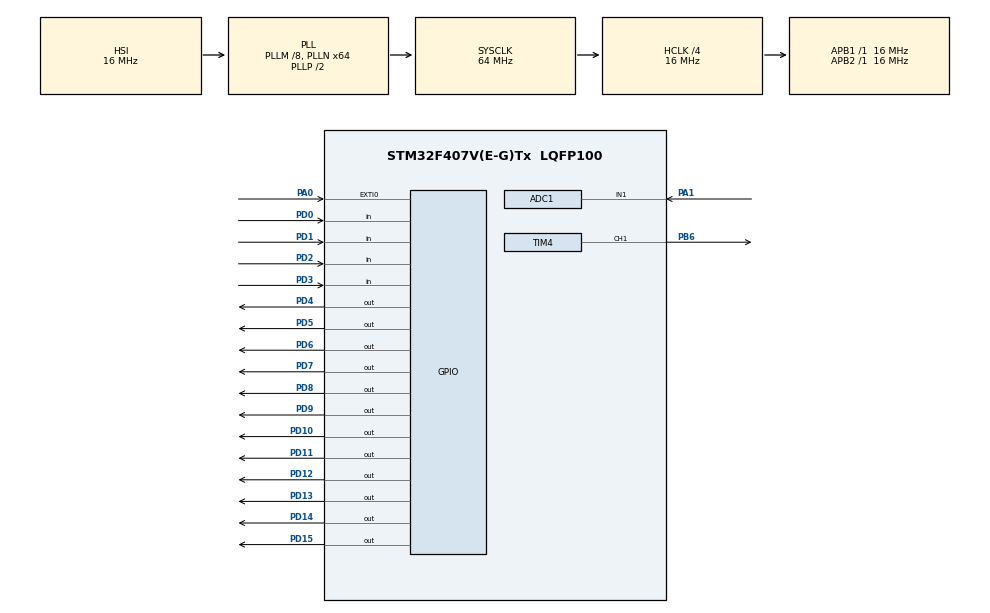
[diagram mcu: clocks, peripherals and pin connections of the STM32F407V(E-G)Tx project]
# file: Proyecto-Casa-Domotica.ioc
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ADC1.Channel-1\#ChannelRegularConversion=ADC_CHANNEL_1
ADC1.EOCSelection=ADC_EOC_SINGLE_CONV
ADC1.InjNumberOfConversion=0
ADC1.NbrOfConversionFlag=1
ADC1.Rank-1\#ChannelRegularConversion=1
ADC1.Resolution=ADC_RESOLUTION_8B
ADC1.SamplingTime-1\#ChannelRegularConversion=ADC_SAMPLETIME_28CYCLES
ADC1.master=1
Mcu.Family=STM32F4
Mcu.Name=STM32F407V(E-G)Tx
Mcu.Package=LQFP100
NVIC.ADC_IRQn=true\:0\:0\:false\:false\:true\:true\:true
NVIC.EXTI0_IRQn=true\:0\:0\:false\:false\:true\:true\:true
NVIC.PriorityGroup=NVIC_PRIORITYGROUP_0
NVIC.TIM1_UP_TIM10_IRQn=true\:0\:0\:false\:false\:true\:false\:true
NVIC.TimeBase=TIM1_UP_TIM10_IRQn
NVIC.TimeBaseIP=TIM1
PA0-WKUP.Signal=GPXTI0
PA1.Signal=ADCx_IN1
PB6.Signal=S_TIM4_CH1
PD0.Signal=GPIO_Input
PD1.Signal=GPIO_Input
PD10.Signal=GPIO_Output
PD11.Signal=GPIO_Output
PD12.Signal=GPIO_Output
PD13.Signal=GPIO_Output
PD14.Signal=GPIO_Output
PD15.Signal=GPIO_Output
PD2.Signal=GPIO_Input
PD3.Signal=GPIO_Input
PD4.Signal=GPIO_Output
PD5.Signal=GPIO_Output
PD6.Signal=GPIO_Output
PD7.Signal=GPIO_Output
PD8.Signal=GPIO_Output
PD9.Signal=GPIO_Output
ProjectManager.HeapSize=0x200
ProjectManager.StackSize=0x400
ProjectManager.TargetToolchain=STM32CubeIDE
RCC.48MHZClocksFreq_Value=18285714.285714287
RCC.AHBCLKDivider=RCC_SYSCLK_DIV4
RCC.AHBFreq_Value=16000000
RCC.APB1Freq_Value=16000000
RCC.APB1TimFreq_Value=16000000
RCC.APB2Freq_Value=16000000
RCC.APB2TimFreq_Value=16000000
RCC.CortexFreq_Value=16000000
RCC.HCLKFreq_Value=16000000
RCC.HSE_VALUE=8000000
RCC.HSI_VALUE=16000000
RCC.LSE_VALUE=32768
RCC.PLLM=8
RCC.PLLN=64
RCC.PLLQ=7
RCC.SYSCLKFreq_VALUE=64000000
RCC.SYSCLKSource=RCC_SYSCLKSOURCE_PLLCLK
RCC.VCOOutputFreq_Value=128000000
SH.ADCx_IN1.0=ADC1_IN1,IN1
SH.S_TIM4_CH1.0=TIM4_CH1,PWM Generation1 CH1
TIM2.Period=100
TIM2.Prescaler=16000
TIM2.TIM_MasterOutputTrigger=TIM_TRGO_UPDATE
TIM4.Channel-PWM\ Generation1\ CH1=TIM_CHANNEL_1
TIM4.Period=100
TIM4.Prescaler=16
TIM4.Pulse-PWM\ Generation1\ CH1=50
VP_SYS_VS_tim1.Mode=TIM1
VP_TIM2_VS_ClockSourceINT.Mode=Internal
VP_TIM4_VS_ClockSourceINT.Mode=Internal
board=STM32F407G-DISC1

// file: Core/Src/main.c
/* USER CODE BEGIN Header */
/**
  ******************************************************************************
  * @file           : main.c
  * @brief          : Main program body
  ******************************************************************************
  * @attention
  *
  * <h2><center>&copy; Copyright (c) 2021 STMicroelectronics.
  * All rights reserved.</center></h2>
  *
  * This software component is licensed by ST under Ultimate Liberty license
  * SLA0044, the "License"; You may not use this file except in compliance with
  * the License. You may obtain a copy of the License at:
  *                             www.st.com/SLA0044
  *
  ******************************************************************************
  */
/* USER CODE END Header */
#include "main.h"

/* USER CODE BEGIN Includes */

//Incluir librería del teclado
#include "MY_Keypad4x4.h"
//Incluir librería booleana
#include <stdbool.h>

/* USER CODE END Includes */

ADC_HandleTypeDef hadc1;

TIM_HandleTypeDef htim2;
TIM_HandleTypeDef htim4;

void SystemClock_Config(void);
static void MX_GPIO_Init(void);
static void MX_ADC1_Init(void);
static void MX_TIM2_Init(void);
static void MX_TIM4_Init(void);

/* USER CODE BEGIN 0 */
bool mySwitches[16];
uint8_t adcVal;
int ledState=0;

/* USER CODE END 0 */

int main(void)
{
  /* USER CODE BEGIN 1 */
	Keypad_WiresTypeDef myKeypadStruct;

  /* USER CODE END 1 */

  /* MCU Configuration--------------------------------------------------------*/

  /* Reset of all peripherals, Initializes the Flash interface and the Systick. */
  HAL_Init();

  /* Configure the system clock */
  SystemClock_Config();

  /* Initialize all configured peripherals */
  MX_GPIO_Init();
  MX_ADC1_Init();
  MX_TIM2_Init();
  MX_TIM4_Init();
  /* USER CODE BEGIN 2 */

  	  	  	  //KEYPAD
  //Declaración puertos de entrada
  myKeypadStruct.IN0_Port = GPIOD;
  myKeypadStruct.IN1_Port = GPIOD;
  myKeypadStruct.IN2_Port = GPIOD;
  myKeypadStruct.IN3_Port = GPIOD;

  //Declaración puertos de salida
  myKeypadStruct.OUT0_Port = GPIOD;
  myKeypadStruct.OUT1_Port = GPIOD;
  myKeypadStruct.OUT2_Port = GPIOD;
  myKeypadStruct.OUT3_Port = GPIOD;

  //Declaración pines de entrada
  myKeypadStruct.IN0pin = GPIO_PIN_0;
  myKeypadStruct.IN1pin = GPIO_PIN_1;
  myKeypadStruct.IN2pin = GPIO_PIN_2;
  myKeypadStruct.IN3pin = GPIO_PIN_3;

  //Declaración pines de salida
  myKeypadStruct.OUT0pin = GPIO_PIN_4;
  myKeypadStruct.OUT1pin = GPIO_PIN_5;
  myKeypadStruct.OUT2pin = GPIO_PIN_6;
  myKeypadStruct.OUT3pin = GPIO_PIN_7;

  //Declaración pines de salida
  Keypad4x4_Init(&myKeypadStruct);

  	  	  	  //DAC:
  //Inicialización Tim
  HAL_TIM_Base_Start(&htim2);
  //Inicialización ADC
  HAL_ADC_Start_IT(&hadc1);

  	  	  	  //PWM
  HAL_TIM_PWM_Start(&htim4, TIM_CHANNEL_1);

  /* USER CODE END 2 */

  /* Infinite loop */
  while (1)
  {

    /* USER CODE BEGIN 3 */
	  //Leer continuamente las teclas del keypad
	  Keypad4x4_ReadKeypad(mySwitches);			//Función de lectura de botones
	  HAL_Delay(100);

	  //Botón 1: Luces de la cocina
	  if(mySwitches[0]){
		  HAL_GPIO_TogglePin(GPIOD, GPIO_PIN_11);
	  }
	  //Botón 2: Luces del salón
	  if(mySwitches[1]){
		  HAL_GPIO_TogglePin(GPIOD, GPIO_PIN_10);
	  }
	  //Botón 3: Luces del salón
	  if(mySwitches[2]){
		  HAL_GPIO_TogglePin(GPIOD, GPIO_PIN_9);
	  }

	  //ADC
	  HAL_ADC_Start(&hadc1);

	  if(HAL_ADC_PollForConversion(&hadc1, 10)==HAL_OK)
		  adcVal = HAL_ADC_GetValue(&hadc1);

	  HAL_ADC_Stop(&hadc1);

	  if(adcVal < 'S')									//Si la luminosidad es baja (es de noche),
		  HAL_GPIO_WritePin(GPIOD, GPIO_PIN_8, 1);		//se encienden las luces del jardín
	  else
		  HAL_GPIO_WritePin(GPIOD, GPIO_PIN_8, 0);		//En caso contrario se apagan

	  HAL_Delay(1000);

	  //BAJAR LEDs
	  	  if (mySwitches[13]) {	//Si se pulsa el botón 0
	  		  switch(ledState){
	  		  case 0:
	  			  __HAL_TIM_SET_COMPARE(&htim4, TIM_CHANNEL_1, 0); //ciclo de trabajo al 90%
	  			  break;
	  		  case 1:
	  			  __HAL_TIM_SET_COMPARE(&htim4, TIM_CHANNEL_1, 90); //ciclo de trabajo al 10%
	  			  break;
	  		  case 2:
	  			  __HAL_TIM_SET_COMPARE(&htim4, TIM_CHANNEL_1, 10); //ciclo de trabajo al 0%
	  			  break;
	  		}
	  		ledState++; 	  	 //se avanza de estado
	  		if(ledState==3)ledState=0;
	  	  }

  }
  /* USER CODE END 3 */
}

void SystemClock_Config(void)
{
  RCC_OscInitTypeDef RCC_OscInitStruct = {0};
  RCC_ClkInitTypeDef RCC_ClkInitStruct = {0};

  /** Configure the main internal regulator output voltage
  */
  __HAL_RCC_PWR_CLK_ENABLE();
  __HAL_PWR_VOLTAGESCALING_CONFIG(PWR_REGULATOR_VOLTAGE_SCALE1);
  /** Initializes the RCC Oscillators according to the specified parameters
  * in the RCC_OscInitTypeDef structure.
  */
  RCC_OscInitStruct.OscillatorType = RCC_OSCILLATORTYPE_HSI;
  RCC_OscInitStruct.HSIState = RCC_HSI_ON;
  RCC_OscInitStruct.HSICalibrationValue = RCC_HSICALIBRATION_DEFAULT;
  RCC_OscInitStruct.PLL.PLLState = RCC_PLL_ON;
  RCC_OscInitStruct.PLL.PLLSource = RCC_PLLSOURCE_HSI;
  RCC_OscInitStruct.PLL.PLLM = 8;
  RCC_OscInitStruct.PLL.PLLN = 64;
  RCC_OscInitStruct.PLL.PLLP = RCC_PLLP_DIV2;
  RCC_OscInitStruct.PLL.PLLQ = 7;
  if (HAL_RCC_OscConfig(&RCC_OscInitStruct) != HAL_OK)
  {
    Error_Handler();
  }
  /** Initializes the CPU, AHB and APB buses clocks
  */
  RCC_ClkInitStruct.ClockType = RCC_CLOCKTYPE_HCLK|RCC_CLOCKTYPE_SYSCLK
                              |RCC_CLOCKTYPE_PCLK1|RCC_CLOCKTYPE_PCLK2;
  RCC_ClkInitStruct.SYSCLKSource = RCC_SYSCLKSOURCE_PLLCLK;
  RCC_ClkInitStruct.AHBCLKDivider = RCC_SYSCLK_DIV4;
  RCC_ClkInitStruct.APB1CLKDivider = RCC_HCLK_DIV1;
  RCC_ClkInitStruct.APB2CLKDivider = RCC_HCLK_DIV1;

  if (HAL_RCC_ClockConfig(&RCC_ClkInitStruct, FLASH_LATENCY_0) != HAL_OK)
  {
    Error_Handler();
  }
}

static void MX_ADC1_Init(void)
{

  ADC_ChannelConfTypeDef sConfig = {0};

  /** Configure the global features of the ADC (Clock, Resolution, Data Alignment and number of conversion)
  */
  hadc1.Instance = ADC1;
  hadc1.Init.ClockPrescaler = ADC_CLOCK_SYNC_PCLK_DIV2;
  hadc1.Init.Resolution = ADC_RESOLUTION_8B;
  hadc1.Init.ScanConvMode = DISABLE;
  hadc1.Init.ContinuousConvMode = DISABLE;
  hadc1.Init.DiscontinuousConvMode = DISABLE;
  hadc1.Init.ExternalTrigConvEdge = ADC_EXTERNALTRIGCONVEDGE_NONE;
  hadc1.Init.ExternalTrigConv = ADC_SOFTWARE_START;
  hadc1.Init.DataAlign = ADC_DATAALIGN_RIGHT;
  hadc1.Init.NbrOfConversion = 1;
  hadc1.Init.DMAContinuousRequests = DISABLE;
  hadc1.Init.EOCSelection = ADC_EOC_SINGLE_CONV;
  if (HAL_ADC_Init(&hadc1) != HAL_OK)
  {
    Error_Handler();
  }
  /** Configure for the selected ADC regular channel its corresponding rank in the sequencer and its sample time.
  */
  sConfig.Channel = ADC_CHANNEL_1;
  sConfig.Rank = 1;
  sConfig.SamplingTime = ADC_SAMPLETIME_28CYCLES;
  if (HAL_ADC_ConfigChannel(&hadc1, &sConfig) != HAL_OK)
  {
    Error_Handler();
  }

}

static void MX_TIM2_Init(void)
{

  TIM_ClockConfigTypeDef sClockSourceConfig = {0};
  TIM_MasterConfigTypeDef sMasterConfig = {0};

  htim2.Instance = TIM2;
  htim2.Init.Prescaler = 16000;
  htim2.Init.CounterMode = TIM_COUNTERMODE_UP;
  htim2.Init.Period = 100;
  htim2.Init.ClockDivision = TIM_CLOCKDIVISION_DIV1;
  htim2.Init.AutoReloadPreload = TIM_AUTORELOAD_PRELOAD_DISABLE;
  if (HAL_TIM_Base_Init(&htim2) != HAL_OK)
  {
    Error_Handler();
  }
  sClockSourceConfig.ClockSource = TIM_CLOCKSOURCE_INTERNAL;
  if (HAL_TIM_ConfigClockSource(&htim2, &sClockSourceConfig) != HAL_OK)
  {
    Error_Handler();
  }
  sMasterConfig.MasterOutputTrigger = TIM_TRGO_UPDATE;
  sMasterConfig.MasterSlaveMode = TIM_MASTERSLAVEMODE_DISABLE;
  if (HAL_TIMEx_MasterConfigSynchronization(&htim2, &sMasterConfig) != HAL_OK)
  {
    Error_Handler();
  }

}

static void MX_TIM4_Init(void)
{

  TIM_ClockConfigTypeDef sClockSourceConfig = {0};
  TIM_MasterConfigTypeDef sMasterConfig = {0};
  TIM_OC_InitTypeDef sConfigOC = {0};

  htim4.Instance = TIM4;
  htim4.Init.Prescaler = 16;
  htim4.Init.CounterMode = TIM_COUNTERMODE_UP;
  htim4.Init.Period = 100;
  htim4.Init.ClockDivision = TIM_CLOCKDIVISION_DIV1;
  htim4.Init.AutoReloadPreload = TIM_AUTORELOAD_PRELOAD_DISABLE;
  if (HAL_TIM_Base_Init(&htim4) != HAL_OK)
  {
    Error_Handler();
  }
  sClockSourceConfig.ClockSource = TIM_CLOCKSOURCE_INTERNAL;
  if (HAL_TIM_ConfigClockSource(&htim4, &sClockSourceConfig) != HAL_OK)
  {
    Error_Handler();
  }
  if (HAL_TIM_PWM_Init(&htim4) != HAL_OK)
  {
    Error_Handler();
  }
  sMasterConfig.MasterOutputTrigger = TIM_TRGO_RESET;
  sMasterConfig.MasterSlaveMode = TIM_MASTERSLAVEMODE_DISABLE;
  if (HAL_TIMEx_MasterConfigSynchronization(&htim4, &sMasterConfig) != HAL_OK)
  {
    Error_Handler();
  }
  sConfigOC.OCMode = TIM_OCMODE_PWM1;
  sConfigOC.Pulse = 50;
  sConfigOC.OCPolarity = TIM_OCPOLARITY_HIGH;
  sConfigOC.OCFastMode = TIM_OCFAST_DISABLE;
  if (HAL_TIM_PWM_ConfigChannel(&htim4, &sConfigOC, TIM_CHANNEL_1) != HAL_OK)
  {
    Error_Handler();
  }
  HAL_TIM_MspPostInit(&htim4);

}

static void MX_GPIO_Init(void)
{
  GPIO_InitTypeDef GPIO_InitStruct = {0};

  /* GPIO Ports Clock Enable */
  __HAL_RCC_GPIOA_CLK_ENABLE();
  __HAL_RCC_GPIOD_CLK_ENABLE();
  __HAL_RCC_GPIOB_CLK_ENABLE();

  /*Configure GPIO pin Output Level */
  HAL_GPIO_WritePin(GPIOD, GPIO_PIN_8|GPIO_PIN_9|GPIO_PIN_10|GPIO_PIN_11
                          |GPIO_PIN_12|GPIO_PIN_13|GPIO_PIN_14|GPIO_PIN_15
                          |GPIO_PIN_4|GPIO_PIN_5|GPIO_PIN_6|GPIO_PIN_7, GPIO_PIN_RESET);

  /*Configure GPIO pin : PA0 */
  GPIO_InitStruct.Pin = GPIO_PIN_0;
  GPIO_InitStruct.Mode = GPIO_MODE_IT_RISING;
  GPIO_InitStruct.Pull = GPIO_NOPULL;
  HAL_GPIO_Init(GPIOA, &GPIO_InitStruct);

  /*Configure GPIO pins : PD8 PD9 PD10 PD11
                           PD12 PD13 PD14 PD15
                           PD4 PD5 PD6 PD7 */
  GPIO_InitStruct.Pin = GPIO_PIN_8|GPIO_PIN_9|GPIO_PIN_10|GPIO_PIN_11
                          |GPIO_PIN_12|GPIO_PIN_13|GPIO_PIN_14|GPIO_PIN_15
                          |GPIO_PIN_4|GPIO_PIN_5|GPIO_PIN_6|GPIO_PIN_7;
  GPIO_InitStruct.Mode = GPIO_MODE_OUTPUT_PP;
  GPIO_InitStruct.Pull = GPIO_NOPULL;
  GPIO_InitStruct.Speed = GPIO_SPEED_FREQ_LOW;
  HAL_GPIO_Init(GPIOD, &GPIO_InitStruct);

  /*Configure GPIO pins : PD0 PD1 PD2 PD3 */
  GPIO_InitStruct.Pin = GPIO_PIN_0|GPIO_PIN_1|GPIO_PIN_2|GPIO_PIN_3;
  GPIO_InitStruct.Mode = GPIO_MODE_INPUT;
  GPIO_InitStruct.Pull = GPIO_NOPULL;
  HAL_GPIO_Init(GPIOD, &GPIO_InitStruct);

  /* EXTI interrupt init*/
  HAL_NVIC_SetPriority(EXTI0_IRQn, 0, 0);
  HAL_NVIC_EnableIRQ(EXTI0_IRQn);

}

/* USER CODE BEGIN 4 */

//Interrupcion del botón AZUL (RESET)
HAL_GPIO_EXTI_Callback(uint16_t GPIO_Pin)
{
  /* Prevent unused argument(s) compilation warning */
  UNUSED(GPIO_Pin);
  /* NOTE: This function Should not be modified, when the callback is needed,
           the HAL_GPIO_EXTI_Callback could be implemented in the user file
   */
  HAL_GPIO_WritePin(GPIOD, GPIO_PIN_11, GPIO_PIN_RESET);	//Apaga luz de la cocina
  HAL_GPIO_WritePin(GPIOD, GPIO_PIN_10, GPIO_PIN_RESET);	//Apaga luz del salón
  HAL_GPIO_WritePin(GPIOD, GPIO_PIN_9, GPIO_PIN_RESET);		//Apaga luz del cuarto
  HAL_GPIO_WritePin(GPIOD, GPIO_PIN_8, GPIO_PIN_RESET);		//Apaga las luces del jardín
  __HAL_TIM_SET_COMPARE(&htim4, TIM_CHANNEL_1, 0);			//Apaga la luz PWM
  ledState = 0;												//pone a 0 el estado del LED PWM

}

//Interrupción de ADC Converter
//void HAL_ADC_ConvCpltCallback(ADC_HandleTypeDef* hadc)
//{
  /* Prevent unused argument(s) compilation warning */
//  UNUSED(hadc);
  /* NOTE : This function Should not be modified, when the callback is needed,
            the HAL_ADC_ConvCpltCallback could be implemented in the user file
   */
//  adcVal = HAL_ADC_GetValue(&hadc1);
//}

/* USER CODE END 4 */

void HAL_TIM_PeriodElapsedCallback(TIM_HandleTypeDef *htim)
{
  if (htim->Instance == TIM1) {
    HAL_IncTick();
  }
}

void Error_Handler(void)
{
  __disable_irq();
  while (1)
  {
  }
}

/************************ (C) COPYRIGHT STMicroelectronics *****END OF FILE****/
